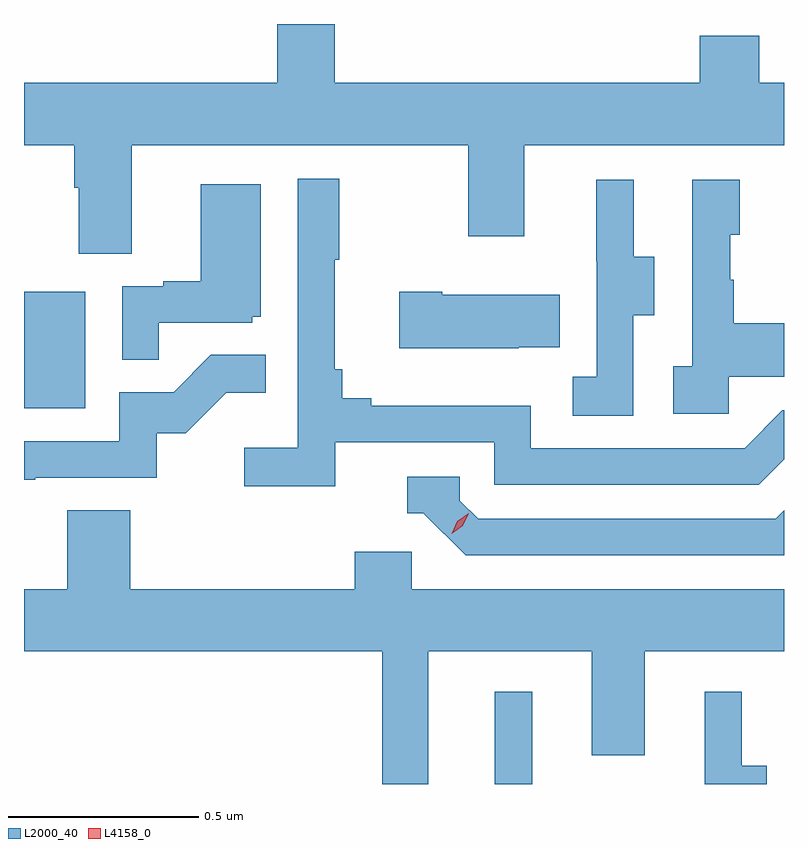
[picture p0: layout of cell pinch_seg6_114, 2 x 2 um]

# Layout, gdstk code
import gdstk
lib = gdstk.Library(unit=1e-6, precision=1e-09)
def R(c, l, rs):  # rectangles x0, y0, x1, y1
    for r in rs: c.add(gdstk.rectangle(r[:2], r[2:], *l))
def P(c, l, *ps):  # polygons
    for p in ps: c.add(gdstk.Polygon(p, *l))
L2000_40 = (2000, 40)
L4158_0 = (4158, 0)

pinch_seg6_114 = lib.new_cell('pinch_seg6_114')
R(pinch_seg6_114, L2000_40, [(901.826,924.343,901.924,924.586), (900.587,925.332,900.748,925.639)])
P(pinch_seg6_114, L2000_40, [(900.587,926.024),(900.719,926.024),(900.719,925.912),(900.731,925.912),(900.731,925.738),(900.871,925.738),(900.871,926.024),(901.756,926.024),(901.756,925.785),(901.903,925.785),(901.903,926.024),(902.587,926.024),(902.587,926.188),(902.522,926.188),(902.522,926.312),(902.365,926.312),(902.365,926.188),(901.405,926.188),(901.405,926.343),(901.253,926.343),(901.253,926.188),(900.587,926.188)],
  [(901.406,925.242),(901.824,925.242),(901.824,925.131),(902.521,925.131),(902.587,925.197),(902.587,925.326),(902.583,925.326),(902.484,925.227),(901.92,925.227),(901.92,925.339),(901.501,925.339),(901.501,925.358),(901.424,925.358),(901.424,925.435),(901.405,925.435),(901.405,925.723),(901.417,925.723),(901.417,925.936),(901.308,925.936),(901.308,925.228),(901.167,925.228),(901.167,925.126),(901.406,925.126)],
  [(902.19,925.576),(902.245,925.576),(902.245,925.731),(902.191,925.731),(902.191,925.933),(902.093,925.933),(902.093,925.719),(902.094,925.719),(902.094,925.415),(902.031,925.415),(902.031,925.312),(902.19,925.312)],
  [(902.442,925.415),(902.587,925.415),(902.587,925.555),(902.455,925.555),(902.455,925.67),(902.445,925.67),(902.445,925.788),(902.47,925.788),(902.47,925.933),(902.346,925.933),(902.346,925.442),(902.295,925.442),(902.295,925.317),(902.442,925.317)],
  [(900.941,925.557),(901.188,925.557),(901.188,925.572),(901.21,925.572),(901.21,925.921),(901.052,925.921),(901.052,925.666),(900.953,925.666),(900.953,925.653),(900.846,925.653),(900.846,925.459),(900.941,925.459)],
  [(901.889,925.493),(901.997,925.493),(901.997,925.63),(901.687,925.63),(901.687,925.638),(901.575,925.638),(901.575,925.49),(901.889,925.49)],
  [(900.617,925.149),(900.936,925.149),(900.936,925.266),(901.012,925.266),(901.119,925.373),(901.223,925.373),(901.223,925.472),(901.079,925.472),(900.981,925.374),(900.837,925.374),(900.837,925.245),(900.587,925.245),(900.587,925.144),(900.617,925.144)],
  [(902.587,925.063),(902.565,925.041),(901.782,925.041),(901.734,925.089),(901.734,925.152),(901.595,925.152),(901.595,925.056),(901.638,925.056),(901.749,924.945),(902.587,924.945)],
  [(901.651,924.692),(902.081,924.692),(902.081,924.419),(902.221,924.419),(902.221,924.692),(902.587,924.692),(902.587,924.856),(901.608,924.856),(901.608,924.954),(901.457,924.954),(901.457,924.856),(900.866,924.856),(900.866,925.064),(900.701,925.064),(900.701,924.856),(900.587,924.856),(900.587,924.692),(901.53,924.692),(901.53,924.343),(901.651,924.343)],
  [(902.542,924.391),(902.476,924.391),(902.476,924.586),(902.378,924.586),(902.378,924.343),(902.542,924.343)])
P(pinch_seg6_114, L4158_0, [(901.712,925.002),(901.712,925.002),(901.727,925.035),(901.758,925.055),(901.758,925.055),(901.758,925.054),(901.742,925.022),(901.712,925.002)])

lib.write_gds('pinch_seg6_114.gds')
